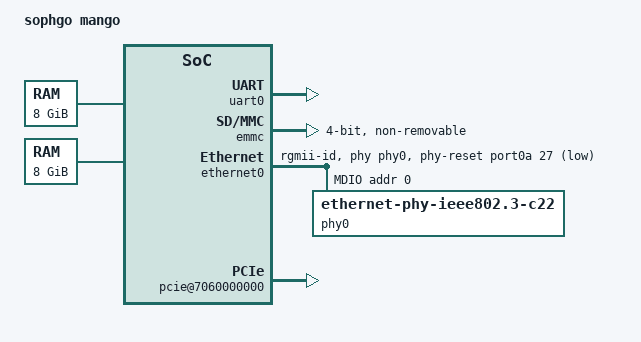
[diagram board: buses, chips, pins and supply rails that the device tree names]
/dts-v1/;
#include <dt-bindings/clock/sophgo.h>
#include <dt-bindings/clock/mango-clock.h>
#include <dt-bindings/reset/mango-resets.h>

#include "mango_clock.dtsi"
#include "mango_pinctrl.dtsi"

/ {
	model = "sophgo mango";
	compatible = "sophgo, sg2040_mango_pld";
	#address-cells = <2>;
	#size-cells = <2>;

	distance-map {
		compatible = "numa-distance-map-v1";
		distance-matrix = <0 0 10>,
				  <0 1 20>,
				  <1 0 20>,
				  <1 1 10>;
	};

	memory@0 {
		device_type = "memory";
		reg = <0x00000000 0x00200000 0x00000001 0xffe00000>;
		numa-node-id = <0>;
	};
	memory@8000000000 {
		device_type = "memory";
		reg = <0x00000080 0x00000000 0x00000002 0x00000000>;
		numa-node-id = <1>;
	};

	cpus {
		#address-cells = <1>;
		#size-cells = <0>;
		timebase-frequency = <50000000>;

		//chip 0
		cpu@0 {
			device_type = "cpu";
			reg = <0>;
			status = "okay";
			compatible = "riscv";
			riscv,isa = "rv64imafdcvsu";
			mmu-type = "riscv,sv39";
			numa-node-id = <0>;
			cpu0_intc: interrupt-controller {
				#interrupt-cells = <1>;
				compatible = "riscv,cpu-intc";
				interrupt-controller;
			};
		};
		cpu@1 {
			device_type = "cpu";
			reg = <1>;
			status = "okay";
			compatible = "riscv";
			riscv,isa = "rv64imafdcvsu";
			mmu-type = "riscv,sv39";
			numa-node-id = <0>;
			cpu1_intc: interrupt-controller {
				#interrupt-cells = <1>;
				compatible = "riscv,cpu-intc";
				interrupt-controller;
			};
		};
		cpu@2 {
			device_type = "cpu";
			reg = <2>;
			status = "okay";
			compatible = "riscv";
			riscv,isa = "rv64imafdcvsu";
			mmu-type = "riscv,sv39";
			numa-node-id = <0>;
			cpu2_intc: interrupt-controller {
				#interrupt-cells = <1>;
				compatible = "riscv,cpu-intc";
				interrupt-controller;
			};
		};
		cpu@3 {
			device_type = "cpu";
			reg = <3>;
			status = "okay";
			compatible = "riscv";
			riscv,isa = "rv64imafdcvsu";
			mmu-type = "riscv,sv39";
			numa-node-id = <0>;
			cpu3_intc: interrupt-controller {
				#interrupt-cells = <1>;
				compatible = "riscv,cpu-intc";
				interrupt-controller;
			};
		};
		cpu@4 {
			device_type = "cpu";
			reg = <4>;
			status = "okay";
			compatible = "riscv";
			riscv,isa = "rv64imafdcvsu";
			mmu-type = "riscv,sv39";
			numa-node-id = <0>;
			cpu4_intc: interrupt-controller {
				#interrupt-cells = <1>;
				compatible = "riscv,cpu-intc";
				interrupt-controller;
			};
		};
		cpu@5 {
			device_type = "cpu";
			reg = <5>;
			status = "okay";
			compatible = "riscv";
			riscv,isa = "rv64imafdcvsu";
			mmu-type = "riscv,sv39";
			numa-node-id = <0>;
			cpu5_intc: interrupt-controller {
				#interrupt-cells = <1>;
				compatible = "riscv,cpu-intc";
				interrupt-controller;
			};
		};
		cpu@6 {
			device_type = "cpu";
			reg = <6>;
			status = "okay";
			compatible = "riscv";
			riscv,isa = "rv64imafdcvsu";
			mmu-type = "riscv,sv39";
			numa-node-id = <0>;
			cpu6_intc: interrupt-controller {
				#interrupt-cells = <1>;
				compatible = "riscv,cpu-intc";
				interrupt-controller;
			};
		};
		cpu@7 {
			device_type = "cpu";
			reg = <7>;
			status = "okay";
			compatible = "riscv";
			riscv,isa = "rv64imafdcvsu";
			mmu-type = "riscv,sv39";
			numa-node-id = <0>;
			cpu7_intc: interrupt-controller {
				#interrupt-cells = <1>;
				compatible = "riscv,cpu-intc";
				interrupt-controller;
			};
		};
		cpu@8 {
			device_type = "cpu";
			reg = <8>;
			status = "okay";
			compatible = "riscv";
			riscv,isa = "rv64imafdcvsu";
			mmu-type = "riscv,sv39";
			numa-node-id = <0>;
			cpu8_intc: interrupt-controller {
				#interrupt-cells = <1>;
				compatible = "riscv,cpu-intc";
				interrupt-controller;
			};
		};
		cpu@9 {
			device_type = "cpu";
			reg = <9>;
			status = "okay";
			compatible = "riscv";
			riscv,isa = "rv64imafdcvsu";
			mmu-type = "riscv,sv39";
			numa-node-id = <0>;
			cpu9_intc: interrupt-controller {
				#interrupt-cells = <1>;
				compatible = "riscv,cpu-intc";
				interrupt-controller;
			};
		};
		cpu@10 {
			device_type = "cpu";
			reg = <10>;
			status = "okay";
			compatible = "riscv";
			riscv,isa = "rv64imafdcvsu";
			mmu-type = "riscv,sv39";
			numa-node-id = <0>;
			cpu10_intc: interrupt-controller {
				#interrupt-cells = <1>;
				compatible = "riscv,cpu-intc";
				interrupt-controller;
			};
		};
		cpu@11 {
			device_type = "cpu";
			reg = <11>;
			status = "okay";
			compatible = "riscv";
			riscv,isa = "rv64imafdcvsu";
			mmu-type = "riscv,sv39";
			numa-node-id = <0>;
			cpu11_intc: interrupt-controller {
				#interrupt-cells = <1>;
				compatible = "riscv,cpu-intc";
				interrupt-controller;
			};
		};
		cpu@12 {
			device_type = "cpu";
			reg = <12>;
			status = "okay";
			compatible = "riscv";
			riscv,isa = "rv64imafdcvsu";
			mmu-type = "riscv,sv39";
			numa-node-id = <0>;
			cpu12_intc: interrupt-controller {
				#interrupt-cells = <1>;
				compatible = "riscv,cpu-intc";
				interrupt-controller;
			};
		};
		cpu@13 {
			device_type = "cpu";
			reg = <13>;
			status = "okay";
			compatible = "riscv";
			riscv,isa = "rv64imafdcvsu";
			mmu-type = "riscv,sv39";
			numa-node-id = <0>;
			cpu13_intc: interrupt-controller {
				#interrupt-cells = <1>;
				compatible = "riscv,cpu-intc";
				interrupt-controller;
			};
		};
		cpu@14 {
			device_type = "cpu";
			reg = <14>;
			status = "okay";
			compatible = "riscv";
			riscv,isa = "rv64imafdcvsu";
			mmu-type = "riscv,sv39";
			numa-node-id = <0>;
			cpu14_intc: interrupt-controller {
				#interrupt-cells = <1>;
				compatible = "riscv,cpu-intc";
				interrupt-controller;
			};
		};
		cpu@15 {
			device_type = "cpu";
			reg = <15>;
			status = "okay";
			compatible = "riscv";
			riscv,isa = "rv64imafdcvsu";
			mmu-type = "riscv,sv39";
			numa-node-id = <0>;
			cpu15_intc: interrupt-controller {
				#interrupt-cells = <1>;
				compatible = "riscv,cpu-intc";
				interrupt-controller;
			};
		};
		cpu@16 {
			device_type = "cpu";
			reg = <16>;
			status = "okay";
			compatible = "riscv";
			riscv,isa = "rv64imafdcvsu";
			mmu-type = "riscv,sv39";
			numa-node-id = <0>;
			cpu16_intc: interrupt-controller {
				#interrupt-cells = <1>;
				compatible = "riscv,cpu-intc";
				interrupt-controller;
			};
		};
		cpu@17 {
			device_type = "cpu";
			reg = <17>;
			status = "okay";
			compatible = "riscv";
			riscv,isa = "rv64imafdcvsu";
			mmu-type = "riscv,sv39";
			numa-node-id = <0>;
			cpu17_intc: interrupt-controller {
				#interrupt-cells = <1>;
				compatible = "riscv,cpu-intc";
				interrupt-controller;
			};
		};
		cpu@18 {
			device_type = "cpu";
			reg = <18>;
			status = "okay";
			compatible = "riscv";
			riscv,isa = "rv64imafdcvsu";
			mmu-type = "riscv,sv39";
			numa-node-id = <0>;
			cpu18_intc: interrupt-controller {
				#interrupt-cells = <1>;
				compatible = "riscv,cpu-intc";
				interrupt-controller;
			};
		};
		cpu@19 {
			device_type = "cpu";
			reg = <19>;
			status = "okay";
			compatible = "riscv";
			riscv,isa = "rv64imafdcvsu";
			mmu-type = "riscv,sv39";
			numa-node-id = <0>;
			cpu19_intc: interrupt-controller {
				#interrupt-cells = <1>;
				compatible = "riscv,cpu-intc";
				interrupt-controller;
			};
		};
		cpu@20 {
			device_type = "cpu";
			reg = <20>;
			status = "okay";
			compatible = "riscv";
			riscv,isa = "rv64imafdcvsu";
			mmu-type = "riscv,sv39";
			numa-node-id = <0>;
			cpu20_intc: interrupt-controller {
				#interrupt-cells = <1>;
				compatible = "riscv,cpu-intc";
				interrupt-controller;
			};
		};
		cpu@21 {
			device_type = "cpu";
			reg = <21>;
			status = "okay";
			compatible = "riscv";
			riscv,isa = "rv64imafdcvsu";
			mmu-type = "riscv,sv39";
			numa-node-id = <0>;
			cpu21_intc: interrupt-controller {
				#interrupt-cells = <1>;
				compatible = "riscv,cpu-intc";
				interrupt-controller;
			};
		};
		cpu@22 {
			device_type = "cpu";
			reg = <22>;
			status = "okay";
			compatible = "riscv";
			riscv,isa = "rv64imafdcvsu";
			mmu-type = "riscv,sv39";
			numa-node-id = <0>;
			cpu22_intc: interrupt-controller {
				#interrupt-cells = <1>;
				compatible = "riscv,cpu-intc";
				interrupt-controller;
			};
		};
		cpu@23 {
			device_type = "cpu";
			reg = <23>;
			status = "okay";
			compatible = "riscv";
			riscv,isa = "rv64imafdcvsu";
			mmu-type = "riscv,sv39";
			numa-node-id = <0>;
			cpu23_intc: interrupt-controller {
				#interrupt-cells = <1>;
				compatible = "riscv,cpu-intc";
				interrupt-controller;
			};
		};
		cpu@24 {
			device_type = "cpu";
			reg = <24>;
			status = "okay";
			compatible = "riscv";
			riscv,isa = "rv64imafdcvsu";
			mmu-type = "riscv,sv39";
			numa-node-id = <0>;
			cpu24_intc: interrupt-controller {
				#interrupt-cells = <1>;
				compatible = "riscv,cpu-intc";
				interrupt-controller;
			};
		};
		cpu@25 {
			device_type = "cpu";
			reg = <25>;
			status = "okay";
			compatible = "riscv";
			riscv,isa = "rv64imafdcvsu";
			mmu-type = "riscv,sv39";
			numa-node-id = <0>;
			cpu25_intc: interrupt-controller {
				#interrupt-cells = <1>;
				compatible = "riscv,cpu-intc";
				interrupt-controller;
			};
		};
		cpu@26 {
			device_type = "cpu";
			reg = <26>;
			status = "okay";
			compatible = "riscv";
			riscv,isa = "rv64imafdcvsu";
			mmu-type = "riscv,sv39";
			numa-node-id = <0>;
			cpu26_intc: interrupt-controller {
				#interrupt-cells = <1>;
				compatible = "riscv,cpu-intc";
				interrupt-controller;
			};
		};
		cpu@27 {
			device_type = "cpu";
			reg = <27>;
			status = "okay";
			compatible = "riscv";
			riscv,isa = "rv64imafdcvsu";
			mmu-type = "riscv,sv39";
			numa-node-id = <0>;
			cpu27_intc: interrupt-controller {
				#interrupt-cells = <1>;
				compatible = "riscv,cpu-intc";
				interrupt-controller;
			};
		};
		cpu@28 {
			device_type = "cpu";
			reg = <28>;
			status = "okay";
			compatible = "riscv";
			riscv,isa = "rv64imafdcvsu";
			mmu-type = "riscv,sv39";
			numa-node-id = <0>;
			cpu28_intc: interrupt-controller {
				#interrupt-cells = <1>;
				compatible = "riscv,cpu-intc";
				interrupt-controller;
			};
		};
		cpu@29 {
			device_type = "cpu";
			reg = <29>;
			status = "okay";
			compatible = "riscv";
			riscv,isa = "rv64imafdcvsu";
			mmu-type = "riscv,sv39";
			numa-node-id = <0>;
			cpu29_intc: interrupt-controller {
				#interrupt-cells = <1>;
				compatible = "riscv,cpu-intc";
				interrupt-controller;
			};
		};
		cpu@30 {
			device_type = "cpu";
			reg = <30>;
			status = "okay";
			compatible = "riscv";
			riscv,isa = "rv64imafdcvsu";
			mmu-type = "riscv,sv39";
			numa-node-id = <0>;
			cpu30_intc: interrupt-controller {
				#interrupt-cells = <1>;
				compatible = "riscv,cpu-intc";
				interrupt-controller;
			};
		};
		cpu@31 {
			device_type = "cpu";
			reg = <31>;
			status = "okay";
			compatible = "riscv";
			riscv,isa = "rv64imafdcvsu";
			mmu-type = "riscv,sv39";
			numa-node-id = <0>;
			cpu31_intc: interrupt-controller {
				#interrupt-cells = <1>;
				compatible = "riscv,cpu-intc";
				interrupt-controller;
			};
		};
		cpu@32 {
			device_type = "cpu";
			reg = <32>;
			status = "okay";
			compatible = "riscv";
			riscv,isa = "rv64imafdcvsu";
			mmu-type = "riscv,sv39";
			numa-node-id = <0>;
			cpu32_intc: interrupt-controller {
				#interrupt-cells = <1>;
				compatible = "riscv,cpu-intc";
				interrupt-controller;
			};
		};
		cpu@33 {
			device_type = "cpu";
			reg = <33>;
			status = "okay";
			compatible = "riscv";
			riscv,isa = "rv64imafdcvsu";
			mmu-type = "riscv,sv39";
			numa-node-id = <0>;
			cpu33_intc: interrupt-controller {
				#interrupt-cells = <1>;
				compatible = "riscv,cpu-intc";
				interrupt-controller;
			};
		};
		cpu@34 {
			device_type = "cpu";
			reg = <34>;
			status = "okay";
			compatible = "riscv";
			riscv,isa = "rv64imafdcvsu";
			mmu-type = "riscv,sv39";
			numa-node-id = <0>;
			cpu34_intc: interrupt-controller {
				#interrupt-cells = <1>;
				compatible = "riscv,cpu-intc";
				interrupt-controller;
			};
		};
		cpu@35 {
			device_type = "cpu";
			reg = <35>;
			status = "okay";
			compatible = "riscv";
			riscv,isa = "rv64imafdcvsu";
			mmu-type = "riscv,sv39";
			numa-node-id = <0>;
			cpu35_intc: interrupt-controller {
				#interrupt-cells = <1>;
				compatible = "riscv,cpu-intc";
				interrupt-controller;
			};
		};
		cpu@36 {
			device_type = "cpu";
			reg = <36>;
			status = "okay";
			compatible = "riscv";
			riscv,isa = "rv64imafdcvsu";
			mmu-type = "riscv,sv39";
			numa-node-id = <0>;
			cpu36_intc: interrupt-controller {
				#interrupt-cells = <1>;
				compatible = "riscv,cpu-intc";
				interrupt-controller;
			};
		};
		cpu@37 {
			device_type = "cpu";
			reg = <37>;
			status = "okay";
			compatible = "riscv";
			riscv,isa = "rv64imafdcvsu";
			mmu-type = "riscv,sv39";
			numa-node-id = <0>;
			cpu37_intc: interrupt-controller {
				#interrupt-cells = <1>;
				compatible = "riscv,cpu-intc";
				interrupt-controller;
			};
		};
		cpu@38 {
			device_type = "cpu";
			reg = <38>;
			status = "okay";
			compatible = "riscv";
			riscv,isa = "rv64imafdcvsu";
			mmu-type = "riscv,sv39";
			numa-node-id = <0>;
			cpu38_intc: interrupt-controller {
				#interrupt-cells = <1>;
				compatible = "riscv,cpu-intc";
				interrupt-controller;
			};
		};
		cpu@39 {
			device_type = "cpu";
			reg = <39>;
			status = "okay";
			compatible = "riscv";
			riscv,isa = "rv64imafdcvsu";
			mmu-type = "riscv,sv39";
			numa-node-id = <0>;
			cpu39_intc: interrupt-controller {
				#interrupt-cells = <1>;
				compatible = "riscv,cpu-intc";
				interrupt-controller;
			};
		};
		cpu@40 {
			device_type = "cpu";
			reg = <40>;
			status = "okay";
			compatible = "riscv";
			riscv,isa = "rv64imafdcvsu";
			mmu-type = "riscv,sv39";
			numa-node-id = <0>;
			cpu40_intc: interrupt-controller {
				#interrupt-cells = <1>;
				compatible = "riscv,cpu-intc";
				interrupt-controller;
			};
		};
		cpu@41 {
			device_type = "cpu";
			reg = <41>;
			status = "okay";
			compatible = "riscv";
			riscv,isa = "rv64imafdcvsu";
			mmu-type = "riscv,sv39";
			numa-node-id = <0>;
			cpu41_intc: interrupt-controller {
				#interrupt-cells = <1>;
				compatible = "riscv,cpu-intc";
				interrupt-controller;
			};
		};
		cpu@42 {
			device_type = "cpu";
			reg = <42>;
			status = "okay";
			compatible = "riscv";
			riscv,isa = "rv64imafdcvsu";
			mmu-type = "riscv,sv39";
			numa-node-id = <0>;
			cpu42_intc: interrupt-controller {
				#interrupt-cells = <1>;
				compatible = "riscv,cpu-intc";
				interrupt-controller;
			};
		};
		cpu@43 {
			device_type = "cpu";
			reg = <43>;
			status = "okay";
			compatible = "riscv";
			riscv,isa = "rv64imafdcvsu";
			mmu-type = "riscv,sv39";
			numa-node-id = <0>;
			cpu43_intc: interrupt-controller {
				#interrupt-cells = <1>;
				compatible = "riscv,cpu-intc";
				interrupt-controller;
			};
		};
		cpu@44 {
			device_type = "cpu";
			reg = <44>;
			status = "okay";
			compatible = "riscv";
			riscv,isa = "rv64imafdcvsu";
			mmu-type = "riscv,sv39";
			numa-node-id = <0>;
			cpu44_intc: interrupt-controller {
				#interrupt-cells = <1>;
				compatible = "riscv,cpu-intc";
				interrupt-controller;
			};
		};
		cpu@45 {
			device_type = "cpu";
			reg = <45>;
			status = "okay";
			compatible = "riscv";
			riscv,isa = "rv64imafdcvsu";
			mmu-type = "riscv,sv39";
			numa-node-id = <0>;
			cpu45_intc: interrupt-controller {
				#interrupt-cells = <1>;
				compatible = "riscv,cpu-intc";
				interrupt-controller;
			};
		};
		cpu@46 {
			device_type = "cpu";
			reg = <46>;
			status = "okay";
			compatible = "riscv";
			riscv,isa = "rv64imafdcvsu";
			mmu-type = "riscv,sv39";
			numa-node-id = <0>;
			cpu46_intc: interrupt-controller {
				#interrupt-cells = <1>;
				compatible = "riscv,cpu-intc";
				interrupt-controller;
			};
		};
		cpu@47 {
			device_type = "cpu";
			reg = <47>;
			status = "okay";
			compatible = "riscv";
			riscv,isa = "rv64imafdcvsu";
			mmu-type = "riscv,sv39";
			numa-node-id = <0>;
			cpu47_intc: interrupt-controller {
				#interrupt-cells = <1>;
				compatible = "riscv,cpu-intc";
				interrupt-controller;
			};
		};
		cpu@48 {
			device_type = "cpu";
			reg = <48>;
			status = "okay";
			compatible = "riscv";
			riscv,isa = "rv64imafdcvsu";
			mmu-type = "riscv,sv39";
			numa-node-id = <0>;
			cpu48_intc: interrupt-controller {
				#interrupt-cells = <1>;
				compatible = "riscv,cpu-intc";
				interrupt-controller;
			};
		};
		cpu@49 {
			device_type = "cpu";
			reg = <49>;
			status = "okay";
			compatible = "riscv";
			riscv,isa = "rv64imafdcvsu";
			mmu-type = "riscv,sv39";
			numa-node-id = <0>;
			cpu49_intc: interrupt-controller {
				#interrupt-cells = <1>;
				compatible = "riscv,cpu-intc";
				interrupt-controller;
			};
		};
		cpu@50 {
			device_type = "cpu";
			reg = <50>;
			status = "okay";
			compatible = "riscv";
			riscv,isa = "rv64imafdcvsu";
			mmu-type = "riscv,sv39";
			numa-node-id = <0>;
			cpu50_intc: interrupt-controller {
				#interrupt-cells = <1>;
				compatible = "riscv,cpu-intc";
				interrupt-controller;
			};
		};
		cpu@51 {
			device_type = "cpu";
			reg = <51>;
			status = "okay";
			compatible = "riscv";
			riscv,isa = "rv64imafdcvsu";
			mmu-type = "riscv,sv39";
			numa-node-id = <0>;
			cpu51_intc: interrupt-controller {
				#interrupt-cells = <1>;
				compatible = "riscv,cpu-intc";
				interrupt-controller;
			};
		};
		cpu@52 {
			device_type = "cpu";
			reg = <52>;
			status = "okay";
			compatible = "riscv";
			riscv,isa = "rv64imafdcvsu";
			mmu-type = "riscv,sv39";
			numa-node-id = <0>;
			cpu52_intc: interrupt-controller {
				#interrupt-cells = <1>;
				compatible = "riscv,cpu-intc";
				interrupt-controller;
			};
		};
		cpu@53 {
			device_type = "cpu";
			reg = <53>;
			status = "okay";
			compatible = "riscv";
			riscv,isa = "rv64imafdcvsu";
			mmu-type = "riscv,sv39";
			numa-node-id = <0>;
			cpu53_intc: interrupt-controller {
				#interrupt-cells = <1>;
				compatible = "riscv,cpu-intc";
				interrupt-controller;
			};
		};
		cpu@54 {
			device_type = "cpu";
			reg = <54>;
			status = "okay";
			compatible = "riscv";
			riscv,isa = "rv64imafdcvsu";
			mmu-type = "riscv,sv39";
			numa-node-id = <0>;
			cpu54_intc: interrupt-controller {
				#interrupt-cells = <1>;
				compatible = "riscv,cpu-intc";
				interrupt-controller;
			};
		};
		cpu@55 {
			device_type = "cpu";
			reg = <55>;
			status = "okay";
			compatible = "riscv";
			riscv,isa = "rv64imafdcvsu";
			mmu-type = "riscv,sv39";
			numa-node-id = <0>;
			cpu55_intc: interrupt-controller {
				#interrupt-cells = <1>;
				compatible = "riscv,cpu-intc";
				interrupt-controller;
			};
		};
		cpu@56 {
			device_type = "cpu";
			reg = <56>;
			status = "okay";
			compatible = "riscv";
			riscv,isa = "rv64imafdcvsu";
			mmu-type = "riscv,sv39";
			numa-node-id = <0>;
			cpu56_intc: interrupt-controller {
				#interrupt-cells = <1>;
				compatible = "riscv,cpu-intc";
				interrupt-controller;
			};
		};
		cpu@57 {
			device_type = "cpu";
			reg = <57>;
			status = "okay";
			compatible = "riscv";
			riscv,isa = "rv64imafdcvsu";
			mmu-type = "riscv,sv39";
			numa-node-id = <0>;
			cpu57_intc: interrupt-controller {
				#interrupt-cells = <1>;
				compatible = "riscv,cpu-intc";
				interrupt-controller;
			};
		};
		cpu@58 {
			device_type = "cpu";
			reg = <58>;
			status = "okay";
			compatible = "riscv";
			riscv,isa = "rv64imafdcvsu";
			mmu-type = "riscv,sv39";
			numa-node-id = <0>;
			cpu58_intc: interrupt-controller {
				#interrupt-cells = <1>;
				compatible = "riscv,cpu-intc";
				interrupt-controller;
			};
		};
		cpu@59 {
			device_type = "cpu";
			reg = <59>;
			status = "okay";
			compatible = "riscv";
			riscv,isa = "rv64imafdcvsu";
			mmu-type = "riscv,sv39";
			numa-node-id = <0>;
			cpu59_intc: interrupt-controller {
				#interrupt-cells = <1>;
				compatible = "riscv,cpu-intc";
				interrupt-controller;
			};
		};
		cpu@60 {
			device_type = "cpu";
			reg = <60>;
			status = "okay";
			compatible = "riscv";
			riscv,isa = "rv64imafdcvsu";
			mmu-type = "riscv,sv39";
			numa-node-id = <0>;
			cpu60_intc: interrupt-controller {
				#interrupt-cells = <1>;
				compatible = "riscv,cpu-intc";
				interrupt-controller;
			};
		};
		cpu@61 {
			device_type = "cpu";
			reg = <61>;
			status = "okay";
			compatible = "riscv";
			riscv,isa = "rv64imafdcvsu";
			mmu-type = "riscv,sv39";
			numa-node-id = <0>;
			cpu61_intc: interrupt-controller {
				#interrupt-cells = <1>;
				compatible = "riscv,cpu-intc";
				interrupt-controller;
			};
		};
		cpu@62 {
			device_type = "cpu";
			reg = <62>;
			status = "okay";
			compatible = "riscv";
			riscv,isa = "rv64imafdcvsu";
			mmu-type = "riscv,sv39";
			numa-node-id = <0>;
			cpu62_intc: interrupt-controller {
				#interrupt-cells = <1>;
				compatible = "riscv,cpu-intc";
				interrupt-controller;
			};
		};
		cpu@63 {
			device_type = "cpu";
			reg = <63>;
			status = "okay";
			compatible = "riscv";
			riscv,isa = "rv64imafdcvsu";
			mmu-type = "riscv,sv39";
			numa-node-id = <0>;
			cpu63_intc: interrupt-controller {
				#interrupt-cells = <1>;
				compatible = "riscv,cpu-intc";
				interrupt-controller;
			};
		};

		//chip 1
		cpu@64 {
			device_type = "cpu";
			reg = <64>;
			status = "okay";
			compatible = "riscv";
			riscv,isa = "rv64imafdcvsu";
			mmu-type = "riscv,sv39";
			numa-node-id = <1>;
			cpu64_intc: interrupt-controller {
				#interrupt-cells = <1>;
				compatible = "riscv,cpu-intc";
				interrupt-controller;
			};
		};
		cpu@65 {
			device_type = "cpu";
			reg = <65>;
			status = "okay";
			compatible = "riscv";
			riscv,isa = "rv64imafdcvsu";
			mmu-type = "riscv,sv39";
			numa-node-id = <1>;
			cpu65_intc: interrupt-controller {
				#interrupt-cells = <1>;
				compatible = "riscv,cpu-intc";
				interrupt-controller;
			};
		};
		cpu@66 {
			device_type = "cpu";
			reg = <66>;
			status = "okay";
			compatible = "riscv";
			riscv,isa = "rv64imafdcvsu";
			mmu-type = "riscv,sv39";
			numa-node-id = <1>;
			cpu66_intc: interrupt-controller {
				#interrupt-cells = <1>;
				compatible = "riscv,cpu-intc";
				interrupt-controller;
			};
		};
		cpu@67 {
			device_type = "cpu";
			reg = <67>;
			status = "okay";
			compatible = "riscv";
			riscv,isa = "rv64imafdcvsu";
			mmu-type = "riscv,sv39";
			numa-node-id = <1>;
			cpu67_intc: interrupt-controller {
				#interrupt-cells = <1>;
				compatible = "riscv,cpu-intc";
				interrupt-controller;
			};
		};
		cpu@68 {
			device_type = "cpu";
			reg = <68>;
			status = "okay";
			compatible = "riscv";
			riscv,isa = "rv64imafdcvsu";
			mmu-type = "riscv,sv39";
			numa-node-id = <1>;
			cpu68_intc: interrupt-controller {
				#interrupt-cells = <1>;
				compatible = "riscv,cpu-intc";
				interrupt-controller;
			};
		};
		cpu@69 {
			device_type = "cpu";
			reg = <69>;
			status = "okay";
			compatible = "riscv";
			riscv,isa = "rv64imafdcvsu";
			mmu-type = "riscv,sv39";
			numa-node-id = <1>;
			cpu69_intc: interrupt-controller {
				#interrupt-cells = <1>;
				compatible = "riscv,cpu-intc";
				interrupt-controller;
			};
		};
		cpu@70 {
			device_type = "cpu";
			reg = <70>;
			status = "okay";
			compatible = "riscv";
			riscv,isa = "rv64imafdcvsu";
			mmu-type = "riscv,sv39";
			numa-node-id = <1>;
			cpu70_intc: interrupt-controller {
				#interrupt-cells = <1>;
				compatible = "riscv,cpu-intc";
				interrupt-controller;
			};
		};
		cpu@71 {
			device_type = "cpu";
			reg = <71>;
			status = "okay";
			compatible = "riscv";
			riscv,isa = "rv64imafdcvsu";
			mmu-type = "riscv,sv39";
			numa-node-id = <1>;
			cpu71_intc: interrupt-controller {
				#interrupt-cells = <1>;
				compatible = "riscv,cpu-intc";
				interrupt-controller;
			};
		};
		cpu@72 {
			device_type = "cpu";
			reg = <72>;
			status = "okay";
			compatible = "riscv";
			riscv,isa = "rv64imafdcvsu";
			mmu-type = "riscv,sv39";
			numa-node-id = <1>;
			cpu72_intc: interrupt-controller {
				#interrupt-cells = <1>;
				compatible = "riscv,cpu-intc";
				interrupt-controller;
			};
		};
		cpu@73 {
			device_type = "cpu";
			reg = <73>;
			status = "okay";
			compatible = "riscv";
			riscv,isa = "rv64imafdcvsu";
			mmu-type = "riscv,sv39";
			numa-node-id = <1>;
			cpu73_intc: interrupt-controller {
				#interrupt-cells = <1>;
				compatible = "riscv,cpu-intc";
				interrupt-controller;
			};
		};
		cpu@74 {
			device_type = "cpu";
			reg = <74>;
			status = "okay";
			compatible = "riscv";
			riscv,isa = "rv64imafdcvsu";
			mmu-type = "riscv,sv39";
			numa-node-id = <1>;
			cpu74_intc: interrupt-controller {
				#interrupt-cells = <1>;
				compatible = "riscv,cpu-intc";
				interrupt-controller;
			};
		};
		cpu@75 {
			device_type = "cpu";
			reg = <75>;
			status = "okay";
			compatible = "riscv";
			riscv,isa = "rv64imafdcvsu";
			mmu-type = "riscv,sv39";
			numa-node-id = <1>;
			cpu75_intc: interrupt-controller {
				#interrupt-cells = <1>;
				compatible = "riscv,cpu-intc";
				interrupt-controller;
			};
		};
		cpu@76 {
			device_type = "cpu";
			reg = <76>;
			status = "okay";
			compatible = "riscv";
			riscv,isa = "rv64imafdcvsu";
			mmu-type = "riscv,sv39";
			numa-node-id = <1>;
			cpu76_intc: interrupt-controller {
				#interrupt-cells = <1>;
				compatible = "riscv,cpu-intc";
				interrupt-controller;
			};
		};
		cpu@77 {
			device_type = "cpu";
			reg = <77>;
			status = "okay";
			compatible = "riscv";
			riscv,isa = "rv64imafdcvsu";
			mmu-type = "riscv,sv39";
			numa-node-id = <1>;
			cpu77_intc: interrupt-controller {
				#interrupt-cells = <1>;
				compatible = "riscv,cpu-intc";
				interrupt-controller;
			};
		};
		cpu@78 {
			device_type = "cpu";
			reg = <78>;
			status = "okay";
			compatible = "riscv";
			riscv,isa = "rv64imafdcvsu";
			mmu-type = "riscv,sv39";
			numa-node-id = <1>;
			cpu78_intc: interrupt-controller {
				#interrupt-cells = <1>;
				compatible = "riscv,cpu-intc";
				interrupt-controller;
			};
		};
		cpu@79 {
			device_type = "cpu";
			reg = <79>;
			status = "okay";
			compatible = "riscv";
			riscv,isa = "rv64imafdcvsu";
			mmu-type = "riscv,sv39";
			numa-node-id = <1>;
			cpu79_intc: interrupt-controller {
				#interrupt-cells = <1>;
				compatible = "riscv,cpu-intc";
				interrupt-controller;
			};
		};
		cpu@80 {
			device_type = "cpu";
			reg = <80>;
			status = "okay";
			compatible = "riscv";
			riscv,isa = "rv64imafdcvsu";
			mmu-type = "riscv,sv39";
			numa-node-id = <1>;
			cpu80_intc: interrupt-controller {
				#interrupt-cells = <1>;
				compatible = "riscv,cpu-intc";
				interrupt-controller;
			};
		};
		cpu@81 {
			device_type = "cpu";
			reg = <81>;
			status = "okay";
			compatible = "riscv";
			riscv,isa = "rv64imafdcvsu";
			mmu-type = "riscv,sv39";
			numa-node-id = <1>;
			cpu81_intc: interrupt-controller {
				#interrupt-cells = <1>;
				compatible = "riscv,cpu-intc";
				interrupt-controller;
			};
		};
		cpu@82 {
			device_type = "cpu";
			reg = <82>;
			status = "okay";
			compatible = "riscv";
			riscv,isa = "rv64imafdcvsu";
			mmu-type = "riscv,sv39";
			numa-node-id = <1>;
			cpu82_intc: interrupt-controller {
				#interrupt-cells = <1>;
				compatible = "riscv,cpu-intc";
				interrupt-controller;
			};
		};
		cpu@83 {
			device_type = "cpu";
			reg = <83>;
			status = "okay";
			compatible = "riscv";
			riscv,isa = "rv64imafdcvsu";
			mmu-type = "riscv,sv39";
			numa-node-id = <1>;
			cpu83_intc: interrupt-controller {
				#interrupt-cells = <1>;
				compatible = "riscv,cpu-intc";
				interrupt-controller;
			};
		};
		cpu@84 {
			device_type = "cpu";
			reg = <84>;
			status = "okay";
			compatible = "riscv";
			riscv,isa = "rv64imafdcvsu";
			mmu-type = "riscv,sv39";
			numa-node-id = <1>;
			cpu84_intc: interrupt-controller {
				#interrupt-cells = <1>;
				compatible = "riscv,cpu-intc";
				interrupt-controller;
			};
		};
		cpu@85 {
			device_type = "cpu";
			reg = <85>;
			status = "okay";
			compatible = "riscv";
			riscv,isa = "rv64imafdcvsu";
			mmu-type = "riscv,sv39";
			numa-node-id = <1>;
			cpu85_intc: interrupt-controller {
				#interrupt-cells = <1>;
				compatible = "riscv,cpu-intc";
				interrupt-controller;
			};
		};
		cpu@86 {
			device_type = "cpu";
			reg = <86>;
			status = "okay";
			compatible = "riscv";
			riscv,isa = "rv64imafdcvsu";
			mmu-type = "riscv,sv39";
			numa-node-id = <1>;
			cpu86_intc: interrupt-controller {
				#interrupt-cells = <1>;
				compatible = "riscv,cpu-intc";
				interrupt-controller;
			};
		};
		cpu@87 {
			device_type = "cpu";
			reg = <87>;
			status = "okay";
			compatible = "riscv";
			riscv,isa = "rv64imafdcvsu";
			mmu-type = "riscv,sv39";
			numa-node-id = <1>;
			cpu87_intc: interrupt-controller {
				#interrupt-cells = <1>;
				compatible = "riscv,cpu-intc";
				interrupt-controller;
			};
		};
		cpu@88 {
			device_type = "cpu";
			reg = <88>;
			status = "okay";
			compatible = "riscv";
			riscv,isa = "rv64imafdcvsu";
			mmu-type = "riscv,sv39";
			numa-node-id = <1>;
			cpu88_intc: interrupt-controller {
				#interrupt-cells = <1>;
				compatible = "riscv,cpu-intc";
				interrupt-controller;
			};
		};
		cpu@89 {
			device_type = "cpu";
			reg = <89>;
			status = "okay";
			compatible = "riscv";
			riscv,isa = "rv64imafdcvsu";
			mmu-type = "riscv,sv39";
			numa-node-id = <1>;
			cpu89_intc: interrupt-controller {
				#interrupt-cells = <1>;
				compatible = "riscv,cpu-intc";
				interrupt-controller;
			};
		};
		cpu@90 {
			device_type = "cpu";
			reg = <90>;
			status = "okay";
			compatible = "riscv";
			riscv,isa = "rv64imafdcvsu";
			mmu-type = "riscv,sv39";
			numa-node-id = <1>;
			cpu90_intc: interrupt-controller {
				#interrupt-cells = <1>;
				compatible = "riscv,cpu-intc";
				interrupt-controller;
			};
		};
		cpu@91 {
			device_type = "cpu";
			reg = <91>;
			status = "okay";
			compatible = "riscv";
			riscv,isa = "rv64imafdcvsu";
			mmu-type = "riscv,sv39";
			numa-node-id = <1>;
			cpu91_intc: interrupt-controller {
				#interrupt-cells = <1>;
				compatible = "riscv,cpu-intc";
				interrupt-controller;
			};
		};
		cpu@92 {
			device_type = "cpu";
			reg = <92>;
			status = "okay";
			compatible = "riscv";
			riscv,isa = "rv64imafdcvsu";
			mmu-type = "riscv,sv39";
			numa-node-id = <1>;
			cpu92_intc: interrupt-controller {
				#interrupt-cells = <1>;
				compatible = "riscv,cpu-intc";
				interrupt-controller;
			};
		};
		cpu@93 {
			device_type = "cpu";
			reg = <93>;
			status = "okay";
			compatible = "riscv";
			riscv,isa = "rv64imafdcvsu";
			mmu-type = "riscv,sv39";
			numa-node-id = <1>;
			cpu93_intc: interrupt-controller {
				#interrupt-cells = <1>;
				compatible = "riscv,cpu-intc";
				interrupt-controller;
			};
		};
		cpu@94 {
			device_type = "cpu";
			reg = <94>;
			status = "okay";
			compatible = "riscv";
			riscv,isa = "rv64imafdcvsu";
			mmu-type = "riscv,sv39";
			numa-node-id = <1>;
			cpu94_intc: interrupt-controller {
				#interrupt-cells = <1>;
				compatible = "riscv,cpu-intc";
				interrupt-controller;
			};
		};
		cpu@95 {
			device_type = "cpu";
			reg = <95>;
			status = "okay";
			compatible = "riscv";
			riscv,isa = "rv64imafdcvsu";
			mmu-type = "riscv,sv39";
			numa-node-id = <1>;
			cpu95_intc: interrupt-controller {
				#interrupt-cells = <1>;
				compatible = "riscv,cpu-intc";
				interrupt-controller;
			};
		};
		cpu@96 {
			device_type = "cpu";
			reg = <96>;
			status = "okay";
			compatible = "riscv";
			riscv,isa = "rv64imafdcvsu";
			mmu-type = "riscv,sv39";
			numa-node-id = <1>;
			cpu96_intc: interrupt-controller {
				#interrupt-cells = <1>;
				compatible = "riscv,cpu-intc";
				interrupt-controller;
			};
		};
		cpu@97 {
			device_type = "cpu";
			reg = <97>;
			status = "okay";
			compatible = "riscv";
			riscv,isa = "rv64imafdcvsu";
			mmu-type = "riscv,sv39";
			numa-node-id = <1>;
			cpu97_intc: interrupt-controller {
				#interrupt-cells = <1>;
				compatible = "riscv,cpu-intc";
				interrupt-controller;
			};
		};
		cpu@98 {
			device_type = "cpu";
			reg = <98>;
			status = "okay";
			compatible = "riscv";
			riscv,isa = "rv64imafdcvsu";
			mmu-type = "riscv,sv39";
			numa-node-id = <1>;
			cpu98_intc: interrupt-controller {
				#interrupt-cells = <1>;
				compatible = "riscv,cpu-intc";
				interrupt-controller;
			};
		};
		cpu@99 {
			device_type = "cpu";
			reg = <99>;
			status = "okay";
			compatible = "riscv";
			riscv,isa = "rv64imafdcvsu";
			mmu-type = "riscv,sv39";
			numa-node-id = <1>;
			cpu99_intc: interrupt-controller {
				#interrupt-cells = <1>;
				compatible = "riscv,cpu-intc";
				interrupt-controller;
			};
		};
		cpu@100 {
			device_type = "cpu";
			reg = <100>;
			status = "okay";
			compatible = "riscv";
			riscv,isa = "rv64imafdcvsu";
			mmu-type = "riscv,sv39";
			numa-node-id = <1>;
			cpu100_intc: interrupt-controller {
				#interrupt-cells = <1>;
				compatible = "riscv,cpu-intc";
				interrupt-controller;
			};
		};
		cpu@101 {
			device_type = "cpu";
			reg = <101>;
			status = "okay";
			compatible = "riscv";
			riscv,isa = "rv64imafdcvsu";
			mmu-type = "riscv,sv39";
			numa-node-id = <1>;
			cpu101_intc: interrupt-controller {
				#interrupt-cells = <1>;
				compatible = "riscv,cpu-intc";
				interrupt-controller;
			};
		};
		cpu@102 {
			device_type = "cpu";
			reg = <102>;
			status = "okay";
			compatible = "riscv";
			riscv,isa = "rv64imafdcvsu";
			mmu-type = "riscv,sv39";
			numa-node-id = <1>;
			cpu102_intc: interrupt-controller {
				#interrupt-cells = <1>;
				compatible = "riscv,cpu-intc";
				interrupt-controller;
			};
		};
		cpu@103 {
			device_type = "cpu";
			reg = <103>;
			status = "okay";
			compatible = "riscv";
			riscv,isa = "rv64imafdcvsu";
			mmu-type = "riscv,sv39";
			numa-node-id = <1>;
			cpu103_intc: interrupt-controller {
				#interrupt-cells = <1>;
				compatible = "riscv,cpu-intc";
				interrupt-controller;
			};
		};
		cpu@104 {
			device_type = "cpu";
			reg = <104>;
			status = "okay";
			compatible = "riscv";
			riscv,isa = "rv64imafdcvsu";
			mmu-type = "riscv,sv39";
			numa-node-id = <1>;
			cpu104_intc: interrupt-controller {
				#interrupt-cells = <1>;
				compatible = "riscv,cpu-intc";
				interrupt-controller;
			};
		};
		cpu@105 {
			device_type = "cpu";
			reg = <105>;
			status = "okay";
			compatible = "riscv";
			riscv,isa = "rv64imafdcvsu";
			mmu-type = "riscv,sv39";
			numa-node-id = <1>;
			cpu105_intc: interrupt-controller {
				#interrupt-cells = <1>;
				compatible = "riscv,cpu-intc";
				interrupt-controller;
			};
		};
		cpu@106 {
			device_type = "cpu";
			reg = <106>;
			status = "okay";
			compatible = "riscv";
			riscv,isa = "rv64imafdcvsu";
			mmu-type = "riscv,sv39";
			numa-node-id = <1>;
			cpu106_intc: interrupt-controller {
				#interrupt-cells = <1>;
				compatible = "riscv,cpu-intc";
				interrupt-controller;
			};
		};
		cpu@107 {
			device_type = "cpu";
			reg = <107>;
			status = "okay";
			compatible = "riscv";
			riscv,isa = "rv64imafdcvsu";
			mmu-type = "riscv,sv39";
			numa-node-id = <1>;
			cpu107_intc: interrupt-controller {
				#interrupt-cells = <1>;
				compatible = "riscv,cpu-intc";
				interrupt-controller;
			};
		};
		cpu@108 {
			device_type = "cpu";
			reg = <108>;
			status = "okay";
			compatible = "riscv";
			riscv,isa = "rv64imafdcvsu";
			mmu-type = "riscv,sv39";
			numa-node-id = <1>;
			cpu108_intc: interrupt-controller {
				#interrupt-cells = <1>;
				compatible = "riscv,cpu-intc";
				interrupt-controller;
			};
		};
		cpu@109 {
			device_type = "cpu";
			reg = <109>;
			status = "okay";
			compatible = "riscv";
			riscv,isa = "rv64imafdcvsu";
			mmu-type = "riscv,sv39";
			numa-node-id = <1>;
			cpu109_intc: interrupt-controller {
				#interrupt-cells = <1>;
				compatible = "riscv,cpu-intc";
				interrupt-controller;
			};
		};
		cpu@110 {
			device_type = "cpu";
			reg = <110>;
			status = "okay";
			compatible = "riscv";
			riscv,isa = "rv64imafdcvsu";
			mmu-type = "riscv,sv39";
			numa-node-id = <1>;
			cpu110_intc: interrupt-controller {
				#interrupt-cells = <1>;
				compatible = "riscv,cpu-intc";
				interrupt-controller;
			};
		};
		cpu@111 {
			device_type = "cpu";
			reg = <111>;
			status = "okay";
			compatible = "riscv";
			riscv,isa = "rv64imafdcvsu";
			mmu-type = "riscv,sv39";
			numa-node-id = <1>;
			cpu111_intc: interrupt-controller {
				#interrupt-cells = <1>;
				compatible = "riscv,cpu-intc";
				interrupt-controller;
			};
		};
		cpu@112 {
			device_type = "cpu";
			reg = <112>;
			status = "okay";
			compatible = "riscv";
			riscv,isa = "rv64imafdcvsu";
			mmu-type = "riscv,sv39";
			numa-node-id = <1>;
			cpu112_intc: interrupt-controller {
				#interrupt-cells = <1>;
				compatible = "riscv,cpu-intc";
				interrupt-controller;
			};
		};
		cpu@113 {
			device_type = "cpu";
			reg = <113>;
			status = "okay";
			compatible = "riscv";
			riscv,isa = "rv64imafdcvsu";
			mmu-type = "riscv,sv39";
			numa-node-id = <1>;
			cpu113_intc: interrupt-controller {
				#interrupt-cells = <1>;
				compatible = "riscv,cpu-intc";
				interrupt-controller;
			};
		};
		cpu@114 {
			device_type = "cpu";
			reg = <114>;
			status = "okay";
			compatible = "riscv";
			riscv,isa = "rv64imafdcvsu";
			mmu-type = "riscv,sv39";
			numa-node-id = <1>;
			cpu114_intc: interrupt-controller {
				#interrupt-cells = <1>;
				compatible = "riscv,cpu-intc";
				interrupt-controller;
			};
		};
		cpu@115 {
			device_type = "cpu";
			reg = <115>;
			status = "okay";
			compatible = "riscv";
			riscv,isa = "rv64imafdcvsu";
			mmu-type = "riscv,sv39";
			numa-node-id = <1>;
			cpu115_intc: interrupt-controller {
				#interrupt-cells = <1>;
				compatible = "riscv,cpu-intc";
				interrupt-controller;
			};
		};
		cpu@116 {
			device_type = "cpu";
			reg = <116>;
			status = "okay";
			compatible = "riscv";
			riscv,isa = "rv64imafdcvsu";
			mmu-type = "riscv,sv39";
			numa-node-id = <1>;
			cpu116_intc: interrupt-controller {
				#interrupt-cells = <1>;
				compatible = "riscv,cpu-intc";
				interrupt-controller;
			};
		};
		cpu@117 {
			device_type = "cpu";
			reg = <117>;
			status = "okay";
			compatible = "riscv";
			riscv,isa = "rv64imafdcvsu";
			mmu-type = "riscv,sv39";
			numa-node-id = <1>;
			cpu117_intc: interrupt-controller {
				#interrupt-cells = <1>;
				compatible = "riscv,cpu-intc";
				interrupt-controller;
			};
		};
		cpu@118 {
			device_type = "cpu";
			reg = <118>;
			status = "okay";
			compatible = "riscv";
			riscv,isa = "rv64imafdcvsu";
			mmu-type = "riscv,sv39";
			numa-node-id = <1>;
			cpu118_intc: interrupt-controller {
				#interrupt-cells = <1>;
				compatible = "riscv,cpu-intc";
				interrupt-controller;
			};
		};
		cpu@119 {
			device_type = "cpu";
			reg = <119>;
			status = "okay";
			compatible = "riscv";
			riscv,isa = "rv64imafdcvsu";
			mmu-type = "riscv,sv39";
			numa-node-id = <1>;
			cpu119_intc: interrupt-controller {
				#interrupt-cells = <1>;
				compatible = "riscv,cpu-intc";
				interrupt-controller;
			};
		};
		cpu@120 {
			device_type = "cpu";
			reg = <120>;
			status = "okay";
			compatible = "riscv";
			riscv,isa = "rv64imafdcvsu";
			mmu-type = "riscv,sv39";
			numa-node-id = <1>;
			cpu120_intc: interrupt-controller {
				#interrupt-cells = <1>;
				compatible = "riscv,cpu-intc";
				interrupt-controller;
			};
		};
		cpu@121 {
			device_type = "cpu";
			reg = <121>;
			status = "okay";
			compatible = "riscv";
			riscv,isa = "rv64imafdcvsu";
			mmu-type = "riscv,sv39";
			numa-node-id = <1>;
			cpu121_intc: interrupt-controller {
				#interrupt-cells = <1>;
				compatible = "riscv,cpu-intc";
				interrupt-controller;
			};
		};
		cpu@122 {
			device_type = "cpu";
			reg = <122>;
			status = "okay";
			compatible = "riscv";
			riscv,isa = "rv64imafdcvsu";
			mmu-type = "riscv,sv39";
			numa-node-id = <1>;
			cpu122_intc: interrupt-controller {
				#interrupt-cells = <1>;
				compatible = "riscv,cpu-intc";
				interrupt-controller;
			};
		};
		cpu@123 {
			device_type = "cpu";
			reg = <123>;
			status = "okay";
			compatible = "riscv";
			riscv,isa = "rv64imafdcvsu";
			mmu-type = "riscv,sv39";
			numa-node-id = <1>;
			cpu123_intc: interrupt-controller {
				#interrupt-cells = <1>;
				compatible = "riscv,cpu-intc";
				interrupt-controller;
			};
		};
		cpu@124 {
			device_type = "cpu";
			reg = <124>;
			status = "okay";
			compatible = "riscv";
			riscv,isa = "rv64imafdcvsu";
			mmu-type = "riscv,sv39";
			numa-node-id = <1>;
			cpu124_intc: interrupt-controller {
				#interrupt-cells = <1>;
				compatible = "riscv,cpu-intc";
				interrupt-controller;
			};
		};
		cpu@125 {
			device_type = "cpu";
			reg = <125>;
			status = "okay";
			compatible = "riscv";
			riscv,isa = "rv64imafdcvsu";
			mmu-type = "riscv,sv39";
			numa-node-id = <1>;
			cpu125_intc: interrupt-controller {
				#interrupt-cells = <1>;
				compatible = "riscv,cpu-intc";
				interrupt-controller;
			};
		};
		cpu@126 {
			device_type = "cpu";
			reg = <126>;
			status = "okay";
			compatible = "riscv";
			riscv,isa = "rv64imafdcvsu";
			mmu-type = "riscv,sv39";
			numa-node-id = <1>;
			cpu126_intc: interrupt-controller {
				#interrupt-cells = <1>;
				compatible = "riscv,cpu-intc";
				interrupt-controller;
			};
		};
		cpu@127 {
			device_type = "cpu";
			reg = <127>;
			status = "okay";
			compatible = "riscv";
			riscv,isa = "rv64imafdcvsu";
			mmu-type = "riscv,sv39";
			numa-node-id = <1>;
			cpu127_intc: interrupt-controller {
				#interrupt-cells = <1>;
				compatible = "riscv,cpu-intc";
				interrupt-controller;
			};
		};

	};

	soc {
		#address-cells = <2>;
		#size-cells = <2>;
		compatible = "simple-bus";
		ranges;

		intc: interrupt-controller@7090000000 {
			#interrupt-cells = <1>;
			compatible = "riscv,plic0";
			interrupt-controller;
			interrupts-extended = <
				&cpu0_intc  0xffffffff &cpu0_intc  9
				&cpu1_intc  0xffffffff &cpu1_intc  9
				&cpu2_intc  0xffffffff &cpu2_intc  9
				&cpu3_intc  0xffffffff &cpu3_intc  9
				&cpu4_intc  0xffffffff &cpu4_intc  9
				&cpu5_intc  0xffffffff &cpu5_intc  9
				&cpu6_intc  0xffffffff &cpu6_intc  9
				&cpu7_intc  0xffffffff &cpu7_intc  9
				&cpu8_intc  0xffffffff &cpu8_intc  9
				&cpu9_intc  0xffffffff &cpu9_intc  9
				&cpu10_intc  0xffffffff &cpu10_intc  9
				&cpu11_intc  0xffffffff &cpu11_intc  9
				&cpu12_intc  0xffffffff &cpu12_intc  9
				&cpu13_intc  0xffffffff &cpu13_intc  9
				&cpu14_intc  0xffffffff &cpu14_intc  9
				&cpu15_intc  0xffffffff &cpu15_intc  9
				&cpu16_intc  0xffffffff &cpu16_intc  9
				&cpu17_intc  0xffffffff &cpu17_intc  9
				&cpu18_intc  0xffffffff &cpu18_intc  9
				&cpu19_intc  0xffffffff &cpu19_intc  9
				&cpu20_intc  0xffffffff &cpu20_intc  9
				&cpu21_intc  0xffffffff &cpu21_intc  9
				&cpu22_intc  0xffffffff &cpu22_intc  9
				&cpu23_intc  0xffffffff &cpu23_intc  9
				&cpu24_intc  0xffffffff &cpu24_intc  9
				&cpu25_intc  0xffffffff &cpu25_intc  9
				&cpu26_intc  0xffffffff &cpu26_intc  9
				&cpu27_intc  0xffffffff &cpu27_intc  9
				&cpu28_intc  0xffffffff &cpu28_intc  9
				&cpu29_intc  0xffffffff &cpu29_intc  9
				&cpu30_intc  0xffffffff &cpu30_intc  9
				&cpu31_intc  0xffffffff &cpu31_intc  9
				&cpu32_intc  0xffffffff &cpu32_intc  9
				&cpu33_intc  0xffffffff &cpu33_intc  9
				&cpu34_intc  0xffffffff &cpu34_intc  9
				&cpu35_intc  0xffffffff &cpu35_intc  9
				&cpu36_intc  0xffffffff &cpu36_intc  9
				&cpu37_intc  0xffffffff &cpu37_intc  9
				&cpu38_intc  0xffffffff &cpu38_intc  9
				&cpu39_intc  0xffffffff &cpu39_intc  9
				&cpu40_intc  0xffffffff &cpu40_intc  9
				&cpu41_intc  0xffffffff &cpu41_intc  9
				&cpu42_intc  0xffffffff &cpu42_intc  9
				&cpu43_intc  0xffffffff &cpu43_intc  9
				&cpu44_intc  0xffffffff &cpu44_intc  9
				&cpu45_intc  0xffffffff &cpu45_intc  9
				&cpu46_intc  0xffffffff &cpu46_intc  9
				&cpu47_intc  0xffffffff &cpu47_intc  9
				&cpu48_intc  0xffffffff &cpu48_intc  9
				&cpu49_intc  0xffffffff &cpu49_intc  9
				&cpu50_intc  0xffffffff &cpu50_intc  9
				&cpu51_intc  0xffffffff &cpu51_intc  9
				&cpu52_intc  0xffffffff &cpu52_intc  9
				&cpu53_intc  0xffffffff &cpu53_intc  9
				&cpu54_intc  0xffffffff &cpu54_intc  9
				&cpu55_intc  0xffffffff &cpu55_intc  9
				&cpu56_intc  0xffffffff &cpu56_intc  9
				&cpu57_intc  0xffffffff &cpu57_intc  9
				&cpu58_intc  0xffffffff &cpu58_intc  9
				&cpu59_intc  0xffffffff &cpu59_intc  9
				&cpu60_intc  0xffffffff &cpu60_intc  9
				&cpu61_intc  0xffffffff &cpu61_intc  9
				&cpu62_intc  0xffffffff &cpu62_intc  9
				&cpu63_intc  0xffffffff &cpu63_intc  9

				//chip 1
				&cpu64_intc  0xffffffff &cpu64_intc  9
				&cpu65_intc  0xffffffff &cpu65_intc  9
				&cpu66_intc  0xffffffff &cpu66_intc  9
				&cpu67_intc  0xffffffff &cpu67_intc  9
				&cpu68_intc  0xffffffff &cpu68_intc  9
				&cpu69_intc  0xffffffff &cpu69_intc  9
				&cpu70_intc  0xffffffff &cpu70_intc  9
				&cpu71_intc  0xffffffff &cpu71_intc  9
				&cpu72_intc  0xffffffff &cpu72_intc  9
				&cpu73_intc  0xffffffff &cpu73_intc  9
				&cpu74_intc  0xffffffff &cpu74_intc  9
				&cpu75_intc  0xffffffff &cpu75_intc  9
				&cpu76_intc  0xffffffff &cpu76_intc  9
				&cpu77_intc  0xffffffff &cpu77_intc  9
				&cpu78_intc  0xffffffff &cpu78_intc  9
				&cpu79_intc  0xffffffff &cpu79_intc  9
				&cpu80_intc  0xffffffff &cpu80_intc  9
				&cpu81_intc  0xffffffff &cpu81_intc  9
				&cpu82_intc  0xffffffff &cpu82_intc  9
				&cpu83_intc  0xffffffff &cpu83_intc  9
				&cpu84_intc  0xffffffff &cpu84_intc  9
				&cpu85_intc  0xffffffff &cpu85_intc  9
				&cpu86_intc  0xffffffff &cpu86_intc  9
				&cpu87_intc  0xffffffff &cpu87_intc  9
				&cpu88_intc  0xffffffff &cpu88_intc  9
				&cpu89_intc  0xffffffff &cpu89_intc  9
				&cpu90_intc  0xffffffff &cpu90_intc  9
				&cpu91_intc  0xffffffff &cpu91_intc  9
				&cpu92_intc  0xffffffff &cpu92_intc  9
				&cpu93_intc  0xffffffff &cpu93_intc  9
				&cpu94_intc  0xffffffff &cpu94_intc  9
				&cpu95_intc  0xffffffff &cpu95_intc  9
				&cpu96_intc  0xffffffff &cpu96_intc  9
				&cpu97_intc  0xffffffff &cpu97_intc  9
				&cpu98_intc  0xffffffff &cpu98_intc  9
				&cpu99_intc  0xffffffff &cpu99_intc  9
				&cpu100_intc  0xffffffff &cpu100_intc  9
				&cpu101_intc  0xffffffff &cpu101_intc  9
				&cpu102_intc  0xffffffff &cpu102_intc  9
				&cpu103_intc  0xffffffff &cpu103_intc  9
				&cpu104_intc  0xffffffff &cpu104_intc  9
				&cpu105_intc  0xffffffff &cpu105_intc  9
				&cpu106_intc  0xffffffff &cpu106_intc  9
				&cpu107_intc  0xffffffff &cpu107_intc  9
				&cpu108_intc  0xffffffff &cpu108_intc  9
				&cpu109_intc  0xffffffff &cpu109_intc  9
				&cpu110_intc  0xffffffff &cpu110_intc  9
				&cpu111_intc  0xffffffff &cpu111_intc  9
				&cpu112_intc  0xffffffff &cpu112_intc  9
				&cpu113_intc  0xffffffff &cpu113_intc  9
				&cpu114_intc  0xffffffff &cpu114_intc  9
				&cpu115_intc  0xffffffff &cpu115_intc  9
				&cpu116_intc  0xffffffff &cpu116_intc  9
				&cpu117_intc  0xffffffff &cpu117_intc  9
				&cpu118_intc  0xffffffff &cpu118_intc  9
				&cpu119_intc  0xffffffff &cpu119_intc  9
				&cpu120_intc  0xffffffff &cpu120_intc  9
				&cpu121_intc  0xffffffff &cpu121_intc  9
				&cpu122_intc  0xffffffff &cpu122_intc  9
				&cpu123_intc  0xffffffff &cpu123_intc  9
				&cpu124_intc  0xffffffff &cpu124_intc  9
				&cpu125_intc  0xffffffff &cpu125_intc  9
				&cpu126_intc  0xffffffff &cpu126_intc  9
				&cpu127_intc  0xffffffff &cpu127_intc  9
				>;
			reg = <0x00000070 0x90000000 0x00000000 0x04000000>;
			reg-names = "control";
			riscv,max-priority = <7>;
			riscv,ndev = <172>;
		};

		top_misc: top_misc_ctrl@7030010000 {
			compatible = "sophgo,top-misc", "syscon";
			reg = <0x70 0x30010000 0x0 0x8000>;
			clocks = <&div_clk GATE_CLK_AXI_DBG_I2C>,
				 <&div_clk GATE_CLK_AXI_SRAM>,
				 <&div_clk GATE_CLK_AHB_ROM>;
			clock-names = "dbg_i2c_clk", "axi_sram_clk", "ahb_rom_clk";
		};

		rst: reset-controller {
			#reset-cells = <1>;
			compatible = "bitmain,reset";
			subctrl-syscon = <&top_misc>;
			top_rst_offset = <0x3000>;
			nr_resets = <RST_MAX_NUM>;
		};

		gpio0: gpio@7030009000 {
			compatible = "snps,dw-apb-gpio";
			reg = <0x70 0x30009000 0x0 0x400>;
			#address-cells = <1>;
			#size-cells = <0>;
			clocks = <&div_clk GATE_CLK_APB_GPIO>,
				 <&div_clk GATE_CLK_APB_GPIO_INTR>,
				 <&div_clk GATE_CLK_GPIO_DB>;
			clock-names = "base_clk", "intr_clk", "db_clk";

			port0a: gpio-controller@0 {
				compatible = "snps,dw-apb-gpio-port";
				bank-name = "port0a";
				gpio-controller;
				#gpio-cells = <2>;
				snps,nr-gpios = <32>;
				reg = <0>;
				interrupt-controller;
				#interrupt-cells = <2>;
				interrupt-parent = <&intc>;
				interrupts = <96>;
			};
		};

		uart0: serial@7040000000 {
			compatible = "snps,dw-apb-uart";
			reg = <0x00000070 0x40000000 0x00000000 0x00001000>;
			interrupt-parent = <&intc>;
			interrupts = <112>;
			clock-frequency = <500000000>;
			clocks = <&div_clk GATE_CLK_UART_500M>,
				   <&div_clk GATE_CLK_SYSDMA_AXI>;
			clock-names = "baudclk", "apb_pclk";
			reg-shift = <2>;
			reg-io-width = <4>;
		};

		emmc: bm-emmc@704002A000 {
			compatible = "bitmain,bm-emmc";
			reg = <0x70 0x4002A000 0x0 0x1000>;
			reg-names = "core_mem";
			interrupt-parent = <&intc>;
			interrupts = <134>;
			bus-width = <4>;
			non-removable;
			no-sdio;
			no-sd;
			resets = <&rst RST_EMMC>;
			reset-names = "emmc";
			clocks =
				<&div_clk GATE_CLK_EMMC_100M>,
				<&div_clk GATE_CLK_AXI_EMMC>,
				<&div_clk GATE_CLK_100K_EMMC>;
			clock-names =
				"clk_gate_emmc",
				"clk_gate_axi_emmc",
				"clk_gate_100k_emmc";
		};

		sd: bm-sd@704002B000 {
			compatible = "bitmain,bm-sd";
			reg = <0x70 0x4002B000 0x0 0x1000>;
			reg-names = "core_mem";
			interrupt-parent = <&intc>;
			interrupts = <136>;
			bus-width = <4>;
			no-sdio;
			no-mmc;
			resets = <&rst RST_SD>;
			reset-names = "sdio";
			clocks =
				<&div_clk GATE_CLK_SD_100M>,
				<&div_clk GATE_CLK_AXI_SD>,
				<&div_clk GATE_CLK_100K_SD>;
			clock-names =
				"clk_gate_sd",
				"clk_gate_axi_sd",
				"clk_gate_100k_sd";
		};

		stmmac_axi_setup: stmmac-axi-config {
			snps,wr_osr_lmt = <1>;
			snps,rd_osr_lmt = <2>;
			snps,blen = <4 8 16 0 0 0 0>;
		};

		mtl_rx_setup: rx-queues-config {
			snps,rx-queues-to-use = <8>;
			queue0 {};
			queue1 {};
			queue2 {};
			queue3 {};
			queue4 {};
			queue5 {};
			queue6 {};
			queue7 {};
		};

		mtl_tx_setup: tx-queues-config {
			snps,tx-queues-to-use = <8>;
			queue0 {};
			queue1 {};
			queue2 {};
			queue3 {};
			queue4 {};
			queue5 {};
			queue6 {};
			queue7 {};
		};

		ethernet0: ethernet@7040026000 {
			compatible = "bitmain,ethernet";
			reg = <0x70 0x40026000 0x0 0x4000>;
			interrupt-parent = <&intc>;
			interrupts = <132>;
			interrupt-names = "macirq";
			clock-names = "clk_tx", "gate_clk_tx", "stmmaceth", "ptp_ref", "gate_clk_ref";
			clocks = <&div_clk DIV_CLK_FPLL_TX_ETH0>,
				   <&div_clk GATE_CLK_TX_ETH0>,
				   <&div_clk GATE_CLK_AXI_ETH0>,
				   <&div_clk GATE_CLK_PTP_REF_I_ETH0>,
				   <&div_clk GATE_CLK_REF_ETH0>;

			/* no hash filter and perfect filter support */
			snps,multicast-filter-bins = <0>;
			snps,perfect-filter-entries = <1>;

			snps,txpbl = <32>;
			snps,rxpbl = <32>;
			snps,aal;

			snps,axi-config = <&stmmac_axi_setup>;
			snps,mtl-rx-config = <&mtl_rx_setup>;
			snps,mtl-tx-config = <&mtl_tx_setup>;

			phy-mode = "rgmii-id";
			phy-reset-gpios = <&port0a 27 0>;
			phy-handle = <&phy0>;
			mdio {
				#address-cells = <0x1>;
				#size-cells = <0x0>;
				compatible = "snps,dwmac-mdio";
				phy0: phy@0 {
					compatible = "ethernet-phy-ieee802.3-c22";
					device_type = "ethernet-phy";
					reg = <0x0>;
				};
			};
		};
	};

	pcie@7060000000 {
		compatible = "sophgo,cdns-pcie-host";
		device_type = "pci";
		#address-cells = <3>;
		#size-cells = <2>;

		bus-range = <0x0 0xff>;
		linux,pci-domain = <0>;
		cdns,max-outbound-regions = <16>;
		cdns,no-bar-match-nbits = <48>;
		vendor-id = /bits/ 16 <0x1E30>;
		device-id = /bits/ 16 <0x2042>;
		interrupt-parent = <&intc>;
		interrupts = <122>;
		interrupt-names = "msi";
		reg = <0x70 0x60000000  0x0 0x02000000>,
		    <0x40 0x00000000  0x0 0x00001000>;
		reg-names = "reg", "cfg";

		// IO, check IO_SPACE_LIMIT
		// 64bit non-prefetchable memory
		ranges = <0x01000000 0x0 0x10000000  0x40 0x10000000  0x0 0x01000000>,
		       <0x03000000 0x0 0x20000000  0x40 0x20000000  0x0 0x10000000>;

		status = "okay";
	};

	aliases {
		serial0 = &uart0;
	};

	chosen {
		bootargs = "console=ttyS0,115200 earlycon ignore_loglevel rdinit=/init root=/dev/ram0 rw initrd=0x30000000,32M retain_initrd maxcpus=1 nvme.use_threaded_interrupts=1";
		stdout-path = "serial0";
	};
};
